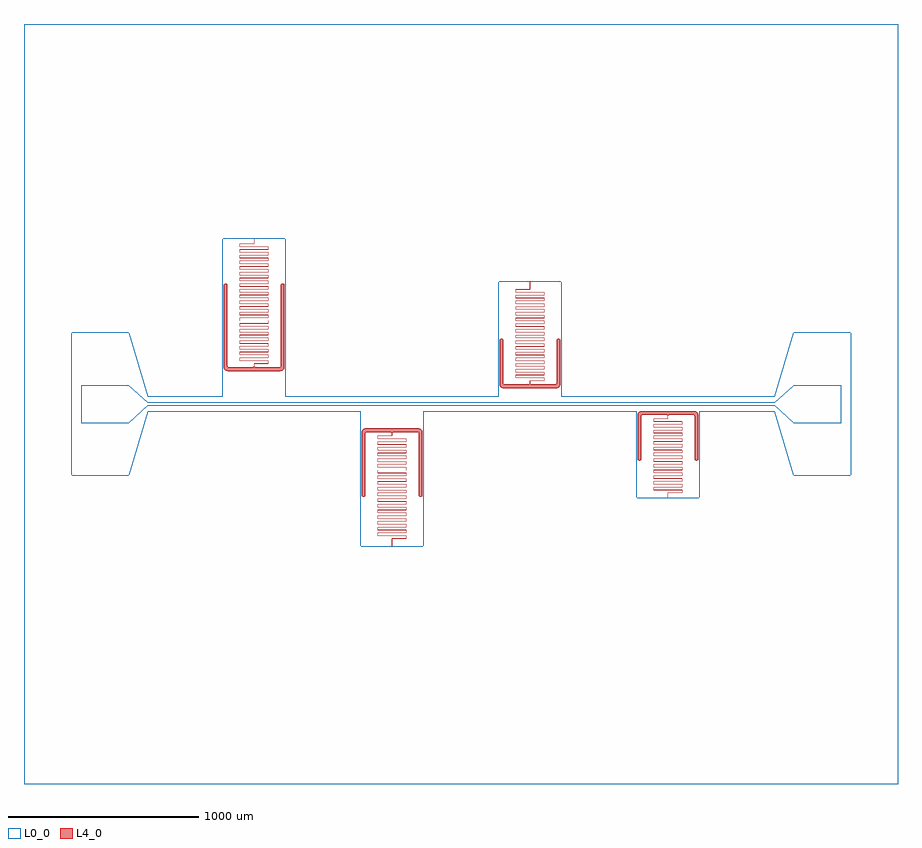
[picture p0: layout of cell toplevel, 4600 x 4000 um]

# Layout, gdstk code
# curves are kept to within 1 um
import gdstk
lib = gdstk.Library(unit=1e-6, precision=1e-09)
def P(c, l, *ps):  # polygons
    for p in ps: c.add(gdstk.Polygon(p, *l))
L0_0 = (0, 0)
L4_0 = (4, 0)

toplevel = lib.new_cell('toplevel')
P(toplevel, L0_0, [(2300,2000),(-2300,2000),(-2300,-375),(-2050,-375),(-2050,375),(-1750,375),(-1650,37.5),(-1254,37.5),(-1254,868.5),(-924,868.5),(-924,37.5),(198,37.5),(198,642.833),(528,642.833),(528,37.5),(1650,37.5),(1750,375),(2050,375),(2050,-375),(1750,-375),(1650,-37.5),(1254,-37.5),(1254,-492.5),(924,-492.5),(924,-37.5),(-198,-37.5),(-198,-748.167),(-528,-748.167),(-528,-37.5),(-1650,-37.5),(-1750,-375),(-2300,-375),(-2300,-2000),(2300,-2000)],
  [(-1650,10),(-1750,100),(-2000,100),(-2000,-100),(-1750,-100),(-1650,-10),(1650,-10),(1750,-100),(2000,-100),(2000,100),(1750,100),(1650,10)])
P(toplevel, L4_0, [(-957.256,173.5),(-946.018,174.652),(-937.664,178.765),(-931.925,185.852),(-929.25,195.469),(-929,438.761),(-949,438.761),(-949.028,199.36),(-950.06,194.461),(-956.931,193.5),(-1079,193.5),(-1088.7,198.4),(-1088.291,213.075),(-1014.361,213.205),(-1013.703,214.288),(-1013.702,227.489),(-1014.693,228.68),(-1163.666,229.071),(-1163.696,242.509),(-1163.132,243.095),(-1013.928,243.536),(-1013.704,257.53),(-1014.73,258.685),(-1162.888,258.7),(-1163.7,259.506),(-1163.176,273.091),(-1013.961,273.493),(-1013.707,287.584),(-1014.755,288.687),(-1162.94,288.7),(-1163.7,289.491),(-1163.184,303.09),(-1014.035,303.413),(-1013.707,317.584),(-1014.755,318.687),(-1162.94,318.7),(-1163.7,319.491),(-1163.184,333.09),(-1014.118,333.342),(-1013.707,347.584),(-1014.755,348.687),(-1162.935,348.7),(-1163.7,349.491),(-1163.184,363.09),(-1014.211,363.279),(-1013.702,377.46),(-1014.755,378.687),(-1162.935,378.7),(-1163.699,379.38),(-1163.184,393.09),(-1014.407,393.187),(-1013.706,394.246),(-1013.702,407.46),(-1014.755,408.687),(-1162.935,408.7),(-1163.699,409.376),(-1163.184,423.09),(-1014.571,423.141),(-1013.706,424.24),(-1013.702,437.46),(-1015.111,438.7),(-1164.195,438.761),(-1162.964,438.1),(-1014.428,437.93),(-1014.798,423.712),(-1162.888,423.7),(-1163.959,423.392),(-1164.3,422.304),(-1164.287,409.149),(-1163.251,408.113),(-1014.458,407.961),(-1014.798,393.712),(-1162.888,393.7),(-1163.959,393.392),(-1164.3,392.304),(-1164.295,379.252),(-1163.251,378.113),(-1014.535,378.015),(-1014.798,363.712),(-1162.888,363.7),(-1163.959,363.392),(-1164.3,362.304),(-1164.289,349.174),(-1163.251,348.113),(-1014.686,348.07),(-1014.605,333.754),(-1163.245,333.687),(-1164.292,332.584),(-1164.3,319.49),(-1162.97,318.1),(-1014.815,318.09),(-1014.466,303.832),(-1163.245,303.687),(-1164.292,302.584),(-1164.3,289.49),(-1162.97,288.1),(-1014.815,288.09),(-1014.433,273.864),(-1163.251,273.687),(-1164.294,272.565),(-1164.3,259.495),(-1163.987,258.435),(-1162.888,258.1),(-1014.85,258.093),(-1014.303,257.495),(-1014.3,244.512),(-1015.112,243.7),(-1163.238,243.688),(-1164.294,242.554),(-1164.3,229.512),(-1163.982,228.429),(-1162.888,228.1),(-1014.811,228.09),(-1014.45,213.846),(-1088.481,213.646),(-1089.296,212.512),(-1089.3,198.4),(-1099,193.5),(-1221.878,193.504),(-1227.976,194.489),(-1228.998,200.94),(-1229,438.761),(-1249,438.761),(-1248.965,198.829),(-1246.945,187.792),(-1244.619,183.373),(-1241.507,179.761),(-1233.471,175.103),(-1223.255,173.524)],
  [(-1163.433,438.769),(-1163.631,438.967),(-1163.699,439.371),(-1163.698,452.467),(-1163.572,452.93),(-1163.184,453.09),(-1015.036,453.1),(-1014.526,453.152),(-1014.142,453.324),(-1013.875,453.618),(-1013.73,454.029),(-1013.707,467.577),(-1013.797,468.019),(-1014.007,468.359),(-1014.328,468.581),(-1014.755,468.687),(-1162.935,468.7),(-1163.476,468.791),(-1163.678,469.129),(-1163.698,482.467),(-1163.572,482.93),(-1163.184,483.09),(-1015.036,483.1),(-1014.532,483.15),(-1014.148,483.32),(-1013.883,483.605),(-1013.733,484.01),(-1013.707,497.577),(-1013.797,498.019),(-1014.007,498.359),(-1014.328,498.581),(-1014.755,498.687),(-1162.935,498.7),(-1163.471,498.788),(-1163.675,499.113),(-1163.698,512.467),(-1163.572,512.93),(-1163.184,513.09),(-1015.036,513.1),(-1014.532,513.15),(-1014.155,513.315),(-1013.887,513.599),(-1013.737,513.991),(-1013.707,527.577),(-1013.797,528.019),(-1014.007,528.359),(-1014.328,528.581),(-1014.755,528.687),(-1162.935,528.7),(-1163.468,528.787),(-1163.673,529.101),(-1163.698,542.467),(-1163.572,542.93),(-1163.18,543.091),(-1015.041,543.1),(-1014.545,543.147),(-1014.167,543.307),(-1013.898,543.58),(-1013.743,543.965),(-1013.707,557.577),(-1013.797,558.019),(-1014.007,558.359),(-1014.328,558.581),(-1014.755,558.687),(-1162.93,558.7),(-1163.46,558.782),(-1163.67,559.086),(-1163.698,572.467),(-1163.572,572.93),(-1163.18,573.091),(-1015.041,573.1),(-1014.552,573.145),(-1014.18,573.298),(-1013.907,573.567),(-1013.749,573.939),(-1013.707,587.577),(-1013.797,588.019),(-1014.007,588.359),(-1014.328,588.581),(-1014.755,588.687),(-1162.93,588.7),(-1163.454,588.779),(-1163.665,589.068),(-1163.698,602.467),(-1163.572,602.93),(-1163.18,603.091),(-1015.041,603.1),(-1014.558,603.144),(-1014.192,603.29),(-1013.92,603.548),(-1013.757,603.906),(-1013.707,617.572),(-1013.795,618.012),(-1014.002,618.353),(-1014.328,618.581),(-1014.755,618.687),(-1162.93,618.7),(-1163.445,618.775),(-1163.66,619.05),(-1163.698,632.463),(-1163.572,632.93),(-1163.18,633.091),(-1015.041,633.1),(-1014.205,633.283),(-1013.937,633.524),(-1013.768,633.867),(-1013.7,634.447),(-1013.707,647.571),(-1013.795,648.012),(-1014.002,648.353),(-1014.328,648.581),(-1014.755,648.687),(-1162.93,648.7),(-1163.436,648.771),(-1163.654,649.029),(-1163.698,662.463),(-1163.572,662.93),(-1163.18,663.091),(-1015.047,663.1),(-1014.231,663.268),(-1013.961,663.494),(-1013.783,663.821),(-1013.7,664.441),(-1013.707,677.571),(-1013.795,678.012),(-1014.002,678.353),(-1014.328,678.581),(-1014.755,678.687),(-1162.925,678.7),(-1163.421,678.764),(-1163.645,679.002),(-1163.698,692.463),(-1163.572,692.93),(-1163.18,693.091),(-1015.047,693.1),(-1014.25,693.257),(-1013.981,693.47),(-1013.802,693.768),(-1013.7,694.43),(-1013.706,707.566),(-1013.795,708.012),(-1014.002,708.353),(-1014.328,708.581),(-1014.755,708.687),(-1162.925,708.7),(-1163.405,708.758),(-1163.633,708.973),(-1163.7,709.45),(-1163.698,722.458),(-1163.574,722.927),(-1163.18,723.091),(-1015.052,723.1),(-1014.283,723.24),(-1013.831,723.702),(-1013.7,724.419),(-1013.706,737.559),(-1013.795,738.012),(-1014.002,738.353),(-1014.328,738.581),(-1014.755,738.687),(-1162.92,738.7),(-1163.385,738.75),(-1163.618,738.94),(-1163.7,739.44),(-1163.698,752.458),(-1163.574,752.927),(-1163.18,753.091),(-1015.058,753.1),(-1014.328,753.219),(-1013.871,753.624),(-1013.7,754.403),(-1013.706,767.553),(-1013.792,768.006),(-1014.002,768.353),(-1014.328,768.581),(-1014.755,768.687),(-1162.92,768.7),(-1163.361,768.743),(-1163.596,768.903),(-1163.7,769.43),(-1163.698,782.453),(-1163.574,782.927),(-1163.18,783.091),(-1015.063,783.1),(-1014.388,783.195),(-1013.937,783.524),(-1013.76,783.893),(-1013.701,784.38),(-1013.705,797.542),(-1013.79,797.999),(-1013.997,798.348),(-1014.322,798.578),(-1014.749,798.687),(-1162.914,798.7),(-1163.328,798.734),(-1163.565,798.862),(-1163.7,799.42),(-1163.699,812.444),(-1163.575,812.925),(-1163.18,813.091),(-1015.074,813.1),(-1014.473,813.166),(-1014.047,813.402),(-1013.79,813.801),(-1013.701,814.352),(-1013.704,827.518),(-1013.785,827.986),(-1013.991,828.342),(-1014.315,828.575),(-1014.749,828.687),(-1162.909,828.7),(-1163.514,828.816),(-1163.654,829.029),(-1163.699,829.4),(-1163.699,842.405),(-1163.602,842.887),(-1163.287,843.075),(-1090.069,843.1),(-1089.257,843.253),(-1088.843,843.676),(-1088.701,844.357),(-1088.7,868.4),(-1089.3,868.4),(-1089.3,844.42),(-1089.355,844.002),(-1089.535,843.785),(-1090.08,843.7),(-1163.416,843.662),(-1163.795,843.517),(-1164.067,843.27),(-1164.236,842.92),(-1164.298,842.471),(-1164.298,829.329),(-1164.184,828.735),(-1163.864,828.328),(-1163.461,828.149),(-1162.92,828.1),(-1014.82,828.091),(-1014.425,827.925),(-1014.301,827.439),(-1014.3,814.41),(-1014.456,813.841),(-1015.091,813.7),(-1163.251,813.687),(-1163.685,813.575),(-1164.008,813.342),(-1164.213,812.992),(-1164.296,812.53),(-1164.299,799.363),(-1164.226,798.847),(-1164.014,798.464),(-1163.573,798.181),(-1162.931,798.1),(-1014.82,798.091),(-1014.425,797.925),(-1014.302,797.448),(-1014.3,784.425),(-1014.418,783.884),(-1014.653,783.739),(-1015.086,783.7),(-1163.245,783.687),(-1163.678,783.578),(-1164.003,783.348),(-1164.21,782.999),(-1164.295,782.547),(-1164.299,769.391),(-1164.25,768.932),(-1164.097,768.573),(-1163.645,768.208),(-1162.937,768.1),(-1014.82,768.091),(-1014.426,767.927),(-1014.302,767.453),(-1014.3,754.44),(-1014.391,753.924),(-1014.625,753.747),(-1015.08,753.7),(-1163.245,753.687),(-1163.671,753.581),(-1163.998,753.353),(-1164.205,753.012),(-1164.294,752.559),(-1164.3,739.408),(-1164.15,738.663),(-1163.698,738.231),(-1162.948,738.1),(-1014.82,738.091),(-1014.426,737.927),(-1014.302,737.458),(-1014.3,724.445),(-1014.373,723.958),(-1014.602,723.755),(-1015.075,723.7),(-1163.245,723.687),(-1163.671,723.581),(-1163.998,723.353),(-1164.205,723.012),(-1164.294,722.566),(-1164.3,709.425),(-1164.184,708.735),(-1163.73,708.247),(-1162.948,708.1),(-1014.82,708.091),(-1014.426,707.927),(-1014.302,707.458),(-1014.36,693.989),(-1014.586,693.761),(-1015.075,693.7),(-1163.245,693.687),(-1163.671,693.581),(-1163.998,693.353),(-1164.205,693.012),(-1164.294,692.566),(-1164.3,679.436),(-1164.208,678.794),(-1164.029,678.482),(-1163.763,678.264),(-1162.953,678.1),(-1014.82,678.091),(-1014.428,677.93),(-1014.302,677.463),(-1014.35,664.015),(-1014.573,663.767),(-1015.075,663.7),(-1163.245,663.687),(-1163.671,663.581),(-1163.998,663.353),(-1164.205,663.012),(-1164.293,662.571),(-1164.3,649.447),(-1164.226,648.847),(-1164.053,648.512),(-1163.782,648.275),(-1162.953,648.1),(-1014.82,648.091),(-1014.428,647.93),(-1014.302,647.463),(-1014.343,634.039),(-1014.561,633.772),(-1015.07,633.7),(-1163.245,633.687),(-1163.671,633.581),(-1163.998,633.353),(-1164.205,633.012),(-1164.293,632.572),(-1164.238,618.887),(-1164.071,618.536),(-1163.801,618.287),(-1163.435,618.143),(-1162.959,618.1),(-1014.82,618.091),(-1014.428,617.93),(-1014.302,617.463),(-1014.337,604.06),(-1014.549,603.778),(-1015.07,603.7),(-1163.245,603.687),(-1163.671,603.581),(-1163.992,603.359),(-1164.203,603.019),(-1164.293,602.577),(-1164.246,588.919),(-1164.085,588.555),(-1163.814,588.294),(-1163.441,588.144),(-1162.959,588.1),(-1014.82,588.091),(-1014.428,587.93),(-1014.302,587.467),(-1014.332,574.079),(-1014.543,573.781),(-1015.07,573.7),(-1163.245,573.687),(-1163.671,573.581),(-1163.992,573.359),(-1164.203,573.019),(-1164.293,572.577),(-1164.254,558.952),(-1164.097,558.573),(-1163.827,558.303),(-1163.454,558.147),(-1162.959,558.1),(-1014.82,558.091),(-1014.428,557.93),(-1014.302,557.467),(-1014.329,544.094),(-1014.535,543.785),(-1015.065,543.7),(-1163.245,543.687),(-1163.671,543.581),(-1163.992,543.359),(-1164.203,543.019),(-1164.293,542.577),(-1164.26,528.978),(-1164.105,528.586),(-1163.839,528.311),(-1163.461,528.149),(-1162.964,528.1),(-1014.815,528.09),(-1014.428,527.93),(-1014.302,527.467),(-1014.325,514.109),(-1014.529,513.788),(-1015.065,513.7),(-1163.245,513.687),(-1163.671,513.581),(-1163.992,513.359),(-1164.203,513.019),(-1164.293,512.577),(-1164.264,498.997),(-1164.113,498.599),(-1163.845,498.315),(-1163.468,498.15),(-1162.964,498.1),(-1014.815,498.09),(-1014.428,497.93),(-1014.302,497.467),(-1014.323,484.121),(-1014.526,483.79),(-1015.065,483.7),(-1163.245,483.687),(-1163.671,483.581),(-1163.992,483.359),(-1164.203,483.019),(-1164.293,482.577),(-1164.269,469.023),(-1164.121,468.611),(-1163.852,468.32),(-1163.468,468.15),(-1162.964,468.1),(-1014.815,468.09),(-1014.428,467.93),(-1014.302,467.467),(-1014.321,454.133),(-1014.521,453.793),(-1015.065,453.7),(-1163.245,453.687),(-1163.717,453.56),(-1164.058,453.282),(-1164.25,452.868),(-1164.3,452.304),(-1164.294,439.234),(-1164.195,438.761)],
  [(-1229,623.5),(-1231.627,630.256),(-1238.564,633.49),(-1245.756,630.873),(-1248.962,624.372),(-1249,438.761),(-1229,438.761)],
  [(-929,623.5),(-931.627,630.256),(-938.564,633.49),(-945.756,630.873),(-948.962,624.372),(-949,438.761),(-929,438.761)],
  [(-512.564,-488.157),(-505.929,-485.238),(-503.038,-479.038),(-503,-348.678),(-523,-348.678),(-522.962,-479.038),(-519.428,-485.827)],
  [(-362.7,-709.116),(-362.561,-708.524),(-362.044,-708.368),(-288.584,-708.328),(-288.211,-708.188),(-287.937,-707.943),(-287.768,-707.6),(-287.702,-707.155),(-287.705,-693.931),(-287.898,-693.246),(-288.348,-692.877),(-289.074,-692.767),(-437.18,-692.757),(-437.575,-692.592),(-437.699,-692.11),(-437.7,-679.086),(-437.648,-678.678),(-437.494,-678.469),(-436.914,-678.367),(-288.749,-678.353),(-288.322,-678.245),(-287.997,-678.014),(-287.79,-677.666),(-287.705,-677.208),(-287.701,-664.047),(-287.792,-663.461),(-288.082,-663.038),(-288.532,-662.817),(-289.063,-662.767),(-437.18,-662.757),(-437.574,-662.594),(-437.698,-662.12),(-437.7,-649.096),(-437.554,-648.517),(-437.321,-648.399),(-436.92,-648.367),(-288.755,-648.354),(-288.328,-648.248),(-288.002,-648.02),(-287.792,-647.672),(-287.706,-647.22),(-287.7,-634.069),(-287.766,-633.54),(-287.961,-633.16),(-288.401,-632.856),(-289.058,-632.767),(-437.18,-632.757),(-437.574,-632.594),(-437.698,-632.125),(-437.7,-619.106),(-437.577,-618.543),(-437.343,-618.404),(-436.92,-618.367),(-288.755,-618.354),(-288.328,-618.248),(-288.002,-618.02),(-287.795,-617.679),(-287.706,-617.226),(-287.7,-604.086),(-287.871,-603.291),(-288.361,-602.872),(-289.052,-602.767),(-437.18,-602.757),(-437.574,-602.594),(-437.698,-602.125),(-437.7,-589.116),(-437.615,-588.601),(-437.361,-588.409),(-436.925,-588.367),(-288.755,-588.354),(-288.328,-588.248),(-288.002,-588.02),(-287.795,-587.679),(-287.706,-587.232),(-287.7,-574.097),(-287.837,-573.356),(-288.041,-573.074),(-288.328,-572.885),(-289.047,-572.767),(-437.18,-572.757),(-437.572,-572.596),(-437.698,-572.129),(-437.7,-559.121),(-437.626,-558.625),(-437.378,-558.415),(-436.925,-558.367),(-288.755,-558.354),(-288.328,-558.248),(-288.002,-558.02),(-287.795,-557.679),(-287.707,-557.238),(-287.7,-544.108),(-287.819,-543.395),(-288.018,-543.096),(-288.309,-542.894),(-289.047,-542.767),(-437.18,-542.757),(-437.572,-542.596),(-437.698,-542.129),(-437.7,-529.127),(-437.637,-528.649),(-437.392,-528.419),(-436.93,-528.367),(-288.755,-528.354),(-288.328,-528.248),(-288.002,-528.02),(-287.795,-527.679),(-287.707,-527.238),(-287.7,-514.114),(-287.8,-513.441),(-287.966,-513.154),(-288.244,-512.927),(-289.041,-512.767),(-437.18,-512.757),(-437.572,-512.596),(-437.698,-512.129),(-437.645,-498.668),(-437.398,-498.422),(-436.93,-498.367),(-288.755,-498.354),(-288.328,-498.248),(-288.002,-498.02),(-287.795,-497.679),(-287.707,-497.238),(-287.7,-484.124),(-287.772,-483.52),(-287.947,-483.178),(-288.192,-482.957),(-288.558,-482.811),(-289.041,-482.767),(-437.18,-482.757),(-437.572,-482.596),(-437.698,-482.134),(-437.665,-468.734),(-437.454,-468.446),(-436.93,-468.367),(-288.755,-468.354),(-288.328,-468.248),(-288.007,-468.026),(-287.797,-467.685),(-287.707,-467.244),(-287.7,-454.13),(-287.776,-453.507),(-287.937,-453.19),(-288.218,-452.942),(-289.041,-452.767),(-437.18,-452.757),(-437.572,-452.596),(-437.698,-452.134),(-437.67,-438.753),(-437.46,-438.449),(-436.93,-438.367),(-288.755,-438.354),(-288.328,-438.248),(-288.007,-438.026),(-287.797,-437.685),(-287.707,-437.244),(-287.755,-423.579),(-287.928,-423.203),(-288.205,-422.949),(-289.041,-422.767),(-437.18,-422.757),(-437.572,-422.596),(-437.698,-422.134),(-437.673,-408.768),(-437.468,-408.453),(-436.935,-408.367),(-288.755,-408.354),(-288.328,-408.248),(-288.007,-408.026),(-287.797,-407.685),(-287.707,-407.244),(-287.75,-393.599),(-287.915,-393.221),(-288.192,-392.957),(-288.584,-392.805),(-289.036,-392.767),(-437.184,-392.757),(-437.572,-392.596),(-437.698,-392.134),(-437.675,-378.78),(-437.471,-378.455),(-436.935,-378.367),(-288.755,-378.354),(-288.328,-378.248),(-288.007,-378.026),(-287.797,-377.685),(-287.707,-377.244),(-287.745,-363.619),(-287.911,-363.228),(-288.148,-362.986),(-288.532,-362.817),(-289.036,-362.767),(-437.184,-362.757),(-437.572,-362.596),(-437.698,-362.134),(-437.648,-348.678),(-438.267,-348.678),(-438.293,-362.244),(-438.203,-362.685),(-437.992,-363.026),(-437.671,-363.248),(-437.245,-363.354),(-289.065,-363.367),(-288.526,-363.456),(-288.323,-363.788),(-288.302,-377.134),(-288.428,-377.596),(-288.815,-377.757),(-436.964,-377.767),(-437.468,-377.817),(-437.845,-377.982),(-438.113,-378.265),(-438.264,-378.664),(-438.293,-392.244),(-438.203,-392.685),(-437.992,-393.026),(-437.671,-393.248),(-437.245,-393.354),(-289.065,-393.367),(-288.529,-393.455),(-288.325,-393.776),(-288.302,-407.134),(-288.428,-407.596),(-288.815,-407.757),(-436.964,-407.767),(-437.461,-407.815),(-437.839,-407.978),(-438.105,-408.253),(-438.26,-408.645),(-438.293,-422.244),(-438.203,-422.685),(-437.992,-423.026),(-437.671,-423.248),(-437.245,-423.354),(-289.065,-423.367),(-288.535,-423.452),(-288.329,-423.761),(-288.302,-437.134),(-288.428,-437.596),(-288.82,-437.757),(-436.959,-437.767),(-437.454,-437.814),(-437.827,-437.969),(-438.097,-438.24),(-438.241,-438.566),(-438.293,-452.244),(-438.203,-452.685),(-437.992,-453.026),(-437.671,-453.248),(-437.245,-453.354),(-289.07,-453.367),(-288.543,-453.447),(-288.347,-453.692),(-288.302,-467.134),(-288.428,-467.596),(-288.82,-467.757),(-436.959,-467.767),(-437.776,-467.938),(-438.058,-468.184),(-438.232,-468.533),(-438.3,-469.124),(-438.293,-482.244),(-438.203,-482.685),(-437.992,-483.026),(-437.671,-483.248),(-437.245,-483.354),(-289.07,-483.367),(-288.595,-483.424),(-288.353,-483.675),(-288.302,-497.129),(-288.428,-497.596),(-288.82,-497.757),(-436.959,-497.767),(-437.763,-497.931),(-438.044,-498.166),(-438.208,-498.461),(-438.3,-499.119),(-438.293,-512.238),(-438.205,-512.679),(-437.998,-513.02),(-437.671,-513.248),(-437.245,-513.354),(-289.07,-513.367),(-288.561,-513.439),(-288.359,-513.659),(-288.302,-527.129),(-288.428,-527.596),(-288.82,-527.757),(-436.953,-527.767),(-437.743,-527.92),(-438.024,-528.142),(-438.21,-528.468),(-438.3,-529.114),(-438.293,-542.238),(-438.205,-542.679),(-437.998,-543.02),(-437.671,-543.248),(-437.245,-543.354),(-289.075,-543.367),(-288.573,-543.433),(-288.368,-543.637),(-288.3,-544.127),(-288.302,-557.129),(-288.428,-557.596),(-288.82,-557.757),(-436.953,-557.767),(-437.685,-557.891),(-437.97,-558.085),(-438.172,-558.375),(-438.3,-559.103),(-438.294,-572.232),(-438.205,-572.679),(-437.998,-573.02),(-437.671,-573.248),(-437.245,-573.354),(-289.075,-573.367),(-288.586,-573.428),(-288.378,-573.616),(-288.3,-574.121),(-288.302,-587.125),(-288.426,-587.594),(-288.82,-587.757),(-436.948,-587.767),(-437.73,-587.913),(-438.146,-588.323),(-438.3,-589.092),(-438.294,-602.232),(-438.205,-602.679),(-437.998,-603.02),(-437.671,-603.248),(-437.245,-603.354),(-289.075,-603.367),(-288.643,-603.408),(-288.393,-603.588),(-288.3,-604.111),(-288.302,-617.125),(-288.426,-617.594),(-288.82,-617.757),(-436.948,-617.767),(-437.619,-617.864),(-438.062,-618.19),(-438.243,-618.573),(-438.3,-619.075),(-438.294,-632.226),(-438.205,-632.679),(-437.998,-633.02),(-437.671,-633.248),(-437.245,-633.354),(-289.08,-633.367),(-288.668,-633.402),(-288.433,-633.531),(-288.3,-634.106),(-288.302,-647.12),(-288.426,-647.594),(-288.82,-647.757),(-436.937,-647.767),(-437.494,-647.823),(-437.959,-648.074),(-438.222,-648.501),(-438.299,-649.058),(-438.295,-662.214),(-438.21,-662.666),(-438.003,-663.014),(-437.678,-663.245),(-437.245,-663.354),(-289.086,-663.367),(-288.486,-663.482),(-288.344,-663.702),(-288.3,-664.091),(-288.302,-677.115),(-288.425,-677.592),(-288.82,-677.757),(-436.931,-677.767),(-437.435,-677.809),(-437.82,-677.965),(-438.184,-678.402),(-438.299,-679.03),(-438.296,-692.196),(-438.213,-692.659),(-438.008,-693.009),(-437.685,-693.242),(-437.251,-693.353),(-288.589,-693.427),(-288.372,-693.628),(-288.3,-694.076),(-288.301,-707.081),(-288.399,-707.556),(-288.713,-707.742),(-361.942,-707.767),(-362.474,-707.818),(-362.864,-707.995),(-363.195,-708.428),(-363.3,-709.075),(-363.3,-748.067),(-362.7,-748.067)],
  [(-212.564,-488.157),(-205.929,-485.238),(-203.038,-479.038),(-203,-348.678),(-223,-348.678),(-222.962,-479.038),(-219.428,-485.827)],
  [(-203,-156.513),(-204.152,-145.185),(-208.37,-136.698),(-215.768,-130.887),(-225.791,-128.34),(-496.447,-128.176),(-505.052,-129.083),(-512.17,-131.933),(-516.621,-135.532),(-519.933,-140.241),(-522.02,-145.85),(-522.928,-152.533),(-523,-348.678),(-503,-348.678),(-502.962,-153.75),(-501.918,-149.111),(-495.152,-148.167),(-373,-148.167),(-363.3,-153.067),(-363.709,-167.741),(-437.639,-167.872),(-438.296,-168.955),(-438.297,-182.155),(-437.307,-183.347),(-288.334,-183.738),(-288.786,-197.754),(-436.888,-197.767),(-438.3,-199.173),(-438.291,-212.268),(-437.202,-213.358),(-288.456,-213.507),(-288.837,-227.759),(-436.888,-227.767),(-438.3,-229.167),(-438.294,-242.22),(-437.245,-243.354),(-288.532,-243.453),(-288.815,-257.757),(-436.888,-257.767),(-438.3,-259.168),(-438.296,-272.19),(-437.269,-273.351),(-288.694,-273.395),(-288.595,-287.709),(-437.269,-287.782),(-438.294,-288.907),(-438.3,-301.971),(-436.888,-303.367),(-288.798,-303.378),(-288.493,-317.656),(-437.245,-317.779),(-438.294,-318.901),(-438.3,-331.971),(-436.888,-333.367),(-288.803,-333.378),(-288.428,-347.596),(-436.964,-347.767),(-438.267,-348.678),(-289.111,-348.367),(-287.7,-346.971),(-287.707,-333.895),(-288.755,-332.779),(-437.572,-332.596),(-437.197,-318.378),(-289.111,-318.367),(-287.7,-316.971),(-287.706,-303.907),(-288.749,-302.78),(-437.542,-302.628),(-437.202,-288.378),(-288.997,-288.366),(-287.7,-286.945),(-287.708,-273.877),(-288.762,-272.779),(-437.489,-272.668),(-437.18,-258.376),(-289.058,-258.367),(-287.7,-257.07),(-287.705,-243.919),(-288.755,-242.779),(-437.267,-242.746),(-437.421,-228.431),(-288.78,-228.356),(-287.707,-227.244),(-287.7,-214.173),(-289.111,-212.767),(-437.15,-212.76),(-437.509,-198.479),(-288.762,-198.354),(-287.706,-197.22),(-287.7,-184.178),(-289.111,-182.767),(-437.189,-182.756),(-437.55,-168.513),(-363.519,-168.313),(-362.704,-167.179),(-362.7,-153.067),(-353,-148.167),(-230.36,-148.169),(-224.108,-149.093),(-223.001,-155.768),(-223,-348.678),(-203,-348.678)],
  [(494.744,82.833),(505.449,83.846),(513.803,87.692),(519.634,94.353),(522.568,103.343),(523,273.45),(503,273.45),(502.944,108.017),(501.862,103.74),(494.901,102.833),(373,102.833),(363.3,107.733),(363.709,122.408),(437.639,122.538),(438.296,123.621),(438.3,136.627),(437.416,137.995),(288.35,138.348),(288.786,152.42),(436.888,152.433),(438.3,153.839),(438.291,166.935),(437.276,168.017),(288.491,168.146),(288.837,182.426),(436.888,182.433),(438.3,183.834),(438.294,196.887),(437.245,198.021),(288.579,198.097),(288.717,212.409),(437.245,212.446),(438.294,213.58),(438.3,226.731),(436.942,228.033),(288.82,228.043),(288.532,242.347),(437.245,242.446),(438.294,243.574),(438.3,256.714),(436.948,258.033),(288.82,258.043),(288.45,272.287),(436.888,272.433),(438.283,273.45),(289.052,273.033),(287.7,271.708),(287.706,258.568),(288.755,257.446),(437.542,257.294),(437.18,243.043),(289.052,243.033),(287.7,241.719),(287.706,228.574),(288.755,227.446),(437.521,227.312),(437.18,213.043),(289.058,213.033),(287.7,211.736),(287.705,198.586),(288.755,197.446),(437.46,197.351),(437.18,183.043),(289.069,183.033),(287.701,181.764),(287.705,168.598),(288.749,167.447),(437.239,167.417),(437.421,153.097),(288.762,153.021),(287.706,151.887),(287.7,138.845),(289.111,137.433),(437.189,137.423),(437.519,123.153),(363.519,122.98),(362.704,121.845),(362.7,107.733),(353,102.833),(230.201,102.837),(224.211,103.695),(223.004,109.955),(223,273.45),(203,273.45),(203.095,106.759),(204.046,100.252),(206.067,94.907),(209.145,90.454),(213.281,86.943),(220.551,83.846),(229.454,82.844)],
  [(438.294,273.568),(438.294,286.899),(438.2,287.359),(437.987,287.698),(437.671,287.915),(437.202,288.024),(289.112,288.033),(288.535,288.118),(288.324,288.45),(288.303,301.824),(288.439,302.276),(288.837,302.426),(436.888,302.433),(437.422,302.473),(437.808,302.624),(438.089,302.894),(438.263,303.324),(438.295,316.881),(438.203,317.352),(437.987,317.698),(437.691,317.906),(437.208,318.024),(289.112,318.033),(288.535,318.118),(288.324,318.45),(288.302,331.81),(288.43,332.265),(288.833,332.425),(436.888,332.433),(437.422,332.473),(437.808,332.624),(438.089,332.894),(438.263,333.324),(438.291,346.935),(438.203,347.352),(437.976,347.709),(437.625,347.934),(437.22,348.023),(289.112,348.033),(288.538,348.117),(288.325,348.443),(288.301,361.753),(288.414,362.245),(288.807,362.423),(436.959,362.433),(437.441,362.477),(437.808,362.624),(438.08,362.882),(438.243,363.24),(438.293,376.905),(438.205,377.346),(437.998,377.687),(437.671,377.915),(437.245,378.021),(289.07,378.033),(288.549,378.111),(288.337,378.394),(288.302,391.796),(288.428,392.263),(288.82,392.424),(436.959,392.433),(437.435,392.476),(437.801,392.62),(438.071,392.869),(438.238,393.22),(438.293,406.905),(438.205,407.346),(437.998,407.687),(437.671,407.915),(437.245,408.021),(289.07,408.033),(288.561,408.105),(288.343,408.372),(288.302,421.796),(288.428,422.263),(288.82,422.424),(436.953,422.433),(437.782,422.608),(438.053,422.845),(438.226,423.18),(438.3,423.78),(438.293,436.905),(438.205,437.346),(437.998,437.687),(437.671,437.915),(437.245,438.021),(289.075,438.033),(288.573,438.1),(288.35,438.348),(288.302,451.796),(288.428,452.263),(288.82,452.424),(436.953,452.433),(437.763,452.597),(438.029,452.815),(438.208,453.128),(438.3,453.769),(438.294,466.899),(438.205,467.346),(437.998,467.687),(437.671,467.915),(437.245,468.021),(289.075,468.033),(288.586,468.095),(288.36,468.322),(288.302,481.791),(288.426,482.261),(288.82,482.424),(436.948,482.433),(437.73,482.58),(438.184,483.068),(438.3,483.758),(438.294,496.899),(438.205,497.346),(437.998,497.687),(437.671,497.915),(437.245,498.021),(289.075,498.033),(288.602,498.088),(288.373,498.291),(288.3,498.778),(288.302,511.791),(288.426,512.261),(288.82,512.424),(436.948,512.433),(437.698,512.564),(438.15,512.996),(438.3,513.742),(438.294,526.893),(438.205,527.346),(437.998,527.687),(437.671,527.915),(437.245,528.021),(289.08,528.033),(288.625,528.08),(288.391,528.257),(288.3,528.773),(288.302,541.786),(288.426,542.261),(288.82,542.424),(436.937,542.433),(437.645,542.541),(438.097,542.907),(438.25,543.266),(438.299,543.725),(438.295,556.881),(438.21,557.332),(438.003,557.681),(437.678,557.912),(437.245,558.021),(289.086,558.033),(288.653,558.072),(288.418,558.217),(288.3,558.758),(288.302,571.782),(288.425,572.259),(288.82,572.424),(436.931,572.433),(437.573,572.514),(438.014,572.797),(438.226,573.18),(438.299,573.696),(438.296,586.863),(438.213,587.326),(438.008,587.675),(437.685,587.909),(437.251,588.02),(289.091,588.033),(288.456,588.174),(288.3,588.743),(288.301,601.748),(288.399,602.223),(288.713,602.409),(361.942,602.433),(362.474,602.485),(362.864,602.662),(363.195,603.095),(363.3,603.742),(363.3,642.733),(362.7,642.733),(362.7,603.783),(362.658,603.376),(362.514,603.149),(361.925,603.033),(288.584,602.995),(288.211,602.854),(287.937,602.61),(287.768,602.266),(287.702,601.822),(287.702,588.679),(287.792,588.128),(288.047,587.735),(288.473,587.499),(289.074,587.433),(437.18,587.424),(437.575,587.259),(437.699,586.777),(437.7,573.753),(437.565,573.195),(437.328,573.067),(436.914,573.033),(288.749,573.02),(288.322,572.912),(287.997,572.681),(287.79,572.332),(287.705,571.875),(287.701,558.713),(287.76,558.226),(287.937,557.857),(288.388,557.528),(289.063,557.433),(437.18,557.424),(437.574,557.261),(437.698,556.786),(437.7,543.763),(437.596,543.236),(437.361,543.076),(436.92,543.033),(288.755,543.021),(288.328,542.915),(288.002,542.687),(287.792,542.339),(287.706,541.887),(287.7,528.736),(287.871,527.958),(288.328,527.552),(289.058,527.433),(437.18,527.424),(437.574,527.261),(437.698,526.791),(437.7,513.773),(437.618,513.274),(437.385,513.084),(436.92,513.033),(288.755,513.021),(288.328,512.915),(288.002,512.687),(287.795,512.346),(287.706,511.893),(287.7,498.753),(287.831,498.036),(288.283,497.573),(289.052,497.433),(437.18,497.424),(437.574,497.261),(437.698,496.791),(437.7,483.783),(437.633,483.306),(437.405,483.091),(436.925,483.033),(288.755,483.021),(288.328,482.915),(288.002,482.687),(287.795,482.346),(287.706,481.899),(287.7,468.764),(287.802,468.101),(287.981,467.803),(288.25,467.59),(289.047,467.433),(437.18,467.424),(437.572,467.263),(437.698,466.796),(437.645,453.335),(437.421,453.097),(436.925,453.033),(288.755,453.021),(288.328,452.915),(288.002,452.687),(287.795,452.346),(287.707,451.905),(287.7,438.775),(287.783,438.154),(287.961,437.827),(288.231,437.601),(289.047,437.433),(437.18,437.424),(437.572,437.263),(437.698,436.796),(437.654,423.362),(437.436,423.104),(436.93,423.033),(288.755,423.021),(288.328,422.915),(288.002,422.687),(287.795,422.346),(287.707,421.905),(287.7,408.78),(287.768,408.2),(287.937,407.857),(288.205,407.616),(289.041,407.433),(437.18,407.424),(437.572,407.263),(437.698,406.796),(437.66,393.383),(437.445,393.108),(436.93,393.033),(288.755,393.021),(288.328,392.915),(288.002,392.687),(287.795,392.346),(287.707,391.905),(287.757,378.24),(287.92,377.882),(288.192,377.624),(288.558,377.477),(289.041,377.433),(437.18,377.424),(437.572,377.263),(437.698,376.796),(437.663,363.394),(437.451,363.111),(436.93,363.033),(288.755,363.021),(288.355,362.926),(287.997,362.681),(287.802,362.365),(287.706,361.899),(287.753,348.253),(287.924,347.876),(288.199,347.62),(288.584,347.472),(289.111,347.433),(437.171,347.425),(437.575,347.259),(437.698,346.805),(437.676,333.45),(437.465,333.118),(436.888,333.033),(288.786,333.023),(288.381,332.936),(288.029,332.715),(287.805,332.372),(287.71,331.947),(287.737,318.324),(287.911,317.894),(288.192,317.624),(288.578,317.473),(289.111,317.433),(437.167,317.425),(437.565,317.271),(437.697,316.819),(437.676,303.45),(437.465,303.118),(436.888,303.033),(288.792,303.024),(288.315,302.909),(288.024,302.709),(287.822,302.411),(287.712,301.972),(287.736,288.331),(287.911,287.894),(288.192,287.624),(288.578,287.473),(289.111,287.433),(437.158,287.426),(437.555,287.281),(437.697,286.829),(437.676,273.45),(438.283,273.45)],
  [(223,332.833),(220.373,339.589),(214.305,342.748),(207.627,341.267),(203.463,335.84),(203,273.45),(223,273.45)],
  [(523,332.833),(520.373,339.589),(514.305,342.748),(507.627,341.267),(503.463,335.84),(503,273.45),(523,273.45)],
  [(939.436,-297.49),(945.756,-294.873),(948.962,-288.372),(949,-182.832),(929,-182.832),(929.038,-288.372),(932.244,-294.873)],
  [(1089.3,-468.42),(1089.45,-467.846),(1089.976,-467.701),(1163.468,-467.65),(1163.87,-467.467),(1164.121,-467.188),(1164.26,-466.822),(1164.3,-466.288),(1164.294,-453.24),(1164.085,-452.555),(1163.625,-452.2),(1162.92,-452.1),(1014.82,-452.091),(1014.425,-451.925),(1014.301,-451.439),(1014.3,-438.41),(1014.359,-437.992),(1014.503,-437.804),(1015.091,-437.7),(1163.251,-437.687),(1163.685,-437.575),(1164.008,-437.342),(1164.213,-436.992),(1164.296,-436.53),(1164.299,-423.363),(1164.184,-422.735),(1163.876,-422.337),(1163.507,-422.16),(1162.931,-422.1),(1014.82,-422.091),(1014.425,-421.925),(1014.302,-421.448),(1014.3,-408.425),(1014.437,-407.86),(1014.653,-407.739),(1015.086,-407.7),(1163.245,-407.687),(1163.678,-407.578),(1164.003,-407.348),(1164.21,-406.999),(1164.295,-406.547),(1164.299,-393.391),(1164.236,-392.88),(1164.053,-392.512),(1163.573,-392.181),(1162.937,-392.1),(1014.82,-392.091),(1014.426,-391.927),(1014.302,-391.453),(1014.3,-378.44),(1014.411,-377.893),(1014.625,-377.747),(1015.08,-377.7),(1163.245,-377.687),(1163.671,-377.581),(1163.998,-377.353),(1164.205,-377.012),(1164.294,-376.56),(1164.3,-363.408),(1164.11,-362.592),(1163.619,-362.197),(1162.948,-362.1),(1014.82,-362.091),(1014.426,-361.927),(1014.302,-361.458),(1014.3,-348.445),(1014.393,-347.921),(1014.602,-347.755),(1015.075,-347.7),(1163.245,-347.687),(1163.671,-347.581),(1163.998,-347.353),(1164.205,-347.012),(1164.294,-346.565),(1164.3,-333.425),(1164.146,-332.657),(1163.942,-332.391),(1163.652,-332.21),(1162.948,-332.1),(1014.82,-332.091),(1014.426,-331.928),(1014.302,-331.458),(1014.3,-318.455),(1014.378,-317.949),(1014.586,-317.761),(1015.075,-317.7),(1163.245,-317.687),(1163.671,-317.581),(1163.998,-317.353),(1164.205,-317.012),(1164.294,-316.565),(1164.3,-303.436),(1164.208,-302.794),(1164.029,-302.482),(1163.763,-302.264),(1162.953,-302.1),(1014.82,-302.091),(1014.428,-301.93),(1014.302,-301.463),(1014.35,-288.015),(1014.573,-287.767),(1015.075,-287.7),(1163.245,-287.687),(1163.671,-287.581),(1163.998,-287.353),(1164.205,-287.012),(1164.293,-286.572),(1164.3,-273.447),(1164.21,-272.801),(1164.024,-272.476),(1163.743,-272.253),(1162.953,-272.1),(1014.82,-272.091),(1014.428,-271.93),(1014.302,-271.463),(1014.343,-258.039),(1014.561,-257.772),(1015.07,-257.7),(1163.245,-257.687),(1163.671,-257.581),(1163.998,-257.353),(1164.205,-257.012),(1164.293,-256.571),(1164.238,-242.887),(1164.071,-242.536),(1163.801,-242.287),(1163.435,-242.143),(1162.959,-242.1),(1014.82,-242.091),(1014.428,-241.93),(1014.302,-241.463),(1014.337,-228.06),(1014.549,-227.778),(1015.07,-227.7),(1163.245,-227.687),(1163.671,-227.581),(1163.992,-227.359),(1164.203,-227.019),(1164.293,-226.577),(1164.3,-213.458),(1164.232,-212.867),(1164.058,-212.518),(1163.776,-212.271),(1162.959,-212.1),(1014.82,-212.091),(1014.428,-211.93),(1014.302,-211.467),(1014.332,-198.079),(1014.543,-197.781),(1015.07,-197.7),(1163.245,-197.687),(1163.671,-197.581),(1163.992,-197.359),(1164.203,-197.019),(1164.293,-196.577),(1164.3,-183.463),(1164.221,-182.832),(1163.534,-182.832),(1163.67,-183.086),(1163.7,-183.475),(1163.698,-196.467),(1163.572,-196.93),(1163.18,-197.091),(1015.041,-197.1),(1014.552,-197.145),(1014.18,-197.298),(1013.907,-197.567),(1013.749,-197.939),(1013.707,-211.577),(1013.797,-212.019),(1014.007,-212.359),(1014.328,-212.581),(1014.755,-212.687),(1162.93,-212.7),(1163.454,-212.779),(1163.665,-213.068),(1163.698,-226.467),(1163.572,-226.93),(1163.18,-227.091),(1015.041,-227.1),(1014.558,-227.144),(1014.192,-227.29),(1013.92,-227.548),(1013.772,-227.854),(1013.7,-228.458),(1013.707,-241.571),(1013.795,-242.012),(1014.002,-242.353),(1014.328,-242.581),(1014.755,-242.687),(1162.93,-242.7),(1163.398,-242.755),(1163.645,-243.002),(1163.698,-256.463),(1163.572,-256.93),(1163.18,-257.091),(1015.041,-257.1),(1014.205,-257.283),(1013.937,-257.524),(1013.768,-257.867),(1013.7,-258.447),(1013.707,-271.572),(1013.795,-272.012),(1014.002,-272.353),(1014.328,-272.581),(1014.755,-272.687),(1162.93,-272.7),(1163.436,-272.771),(1163.654,-273.029),(1163.698,-286.463),(1163.572,-286.93),(1163.18,-287.091),(1015.047,-287.1),(1014.231,-287.268),(1013.8,-287.775),(1013.7,-288.441),(1013.707,-301.572),(1013.795,-302.012),(1014.002,-302.353),(1014.328,-302.581),(1014.755,-302.687),(1162.925,-302.7),(1163.421,-302.764),(1163.645,-303.002),(1163.698,-316.463),(1163.572,-316.93),(1163.18,-317.091),(1015.047,-317.1),(1014.328,-317.219),(1014.041,-317.408),(1013.837,-317.689),(1013.7,-318.43),(1013.706,-331.565),(1013.795,-332.012),(1014.002,-332.353),(1014.328,-332.581),(1014.755,-332.687),(1162.925,-332.7),(1163.361,-332.743),(1163.615,-332.935),(1163.7,-333.45),(1163.698,-346.458),(1163.574,-346.927),(1163.18,-347.091),(1015.052,-347.1),(1014.361,-347.205),(1013.871,-347.624),(1013.7,-348.419),(1013.706,-361.56),(1013.795,-362.012),(1014.002,-362.353),(1014.328,-362.581),(1014.755,-362.687),(1162.92,-362.7),(1163.385,-362.75),(1163.599,-362.908),(1163.7,-363.44),(1163.698,-376.458),(1163.574,-376.927),(1163.18,-377.091),(1015.058,-377.1),(1014.328,-377.219),(1013.915,-377.555),(1013.766,-377.873),(1013.7,-378.403),(1013.706,-391.553),(1013.792,-392.006),(1014.002,-392.353),(1014.328,-392.581),(1014.755,-392.687),(1162.92,-392.7),(1163.321,-392.732),(1163.575,-392.875),(1163.7,-393.43),(1163.698,-406.453),(1163.574,-406.927),(1163.18,-407.091),(1015.063,-407.1),(1014.46,-407.17),(1014.029,-407.418),(1013.776,-407.84),(1013.701,-408.38),(1013.705,-421.542),(1013.79,-421.999),(1013.997,-422.348),(1014.322,-422.578),(1014.749,-422.687),(1162.914,-422.7),(1163.521,-422.821),(1163.648,-423.012),(1163.7,-423.42),(1163.699,-436.444),(1163.575,-436.925),(1163.18,-437.091),(1015.074,-437.1),(1014.532,-437.15),(1014.186,-437.294),(1013.84,-437.683),(1013.701,-438.352),(1013.704,-451.518),(1013.785,-451.986),(1013.991,-452.342),(1014.315,-452.575),(1014.749,-452.687),(1163.411,-452.76),(1163.628,-452.961),(1163.699,-453.4),(1163.699,-466.405),(1163.602,-466.887),(1163.287,-467.075),(1090.069,-467.1),(1089.257,-467.253),(1088.843,-467.676),(1088.701,-468.357),(1088.7,-492.4),(1089.3,-492.4)],
  [(1239.436,-297.49),(1245.756,-294.873),(1248.962,-288.372),(1249,-182.832),(1229,-182.832),(1229.038,-288.372),(1232.244,-294.873)],
  [(1249,-65.846),(1247.848,-54.518),(1243.63,-46.032),(1236.232,-40.22),(1226.558,-37.704),(956.042,-37.504),(943.844,-39.344),(938.063,-42.458),(933.76,-46.832),(930.794,-52.481),(929.25,-59.469),(929,-182.832),(949,-182.832),(949.071,-62.427),(950.161,-58.392),(956.931,-57.5),(1079,-57.5),(1088.7,-62.4),(1088.291,-77.075),(1014.361,-77.205),(1013.702,-91.489),(1014.584,-92.662),(1163.629,-92.964),(1163.189,-107.09),(1014.186,-107.294),(1013.702,-121.465),(1014.761,-122.688),(1163.699,-123.361),(1163.184,-137.09),(1014.375,-137.2),(1013.702,-151.46),(1014.755,-152.687),(1162.935,-152.7),(1163.7,-153.475),(1163.18,-167.091),(1014.597,-167.136),(1013.702,-168.311),(1013.702,-181.46),(1015.111,-182.7),(1164.221,-182.832),(1162.959,-182.1),(1014.535,-182.015),(1014.811,-167.71),(1162.888,-167.7),(1164.3,-166.304),(1164.291,-153.198),(1163.238,-152.112),(1014.686,-152.07),(1014.576,-137.765),(1163.245,-137.687),(1164.293,-136.577),(1164.3,-123.474),(1162.964,-122.1),(1014.82,-122.091),(1014.3,-108.522),(1015.035,-107.7),(1163.202,-107.691),(1164.292,-106.583),(1164.3,-93.522),(1162.888,-92.1),(1014.811,-92.09),(1014.518,-77.794),(1088.481,-77.646),(1089.296,-76.512),(1089.3,-62.4),(1099,-57.5),(1221.398,-57.501),(1227.488,-58.21),(1228.604,-59.981),(1228.995,-64.544),(1229,-182.832),(1249,-182.832)])

lib.write_gds('toplevel.gds')
